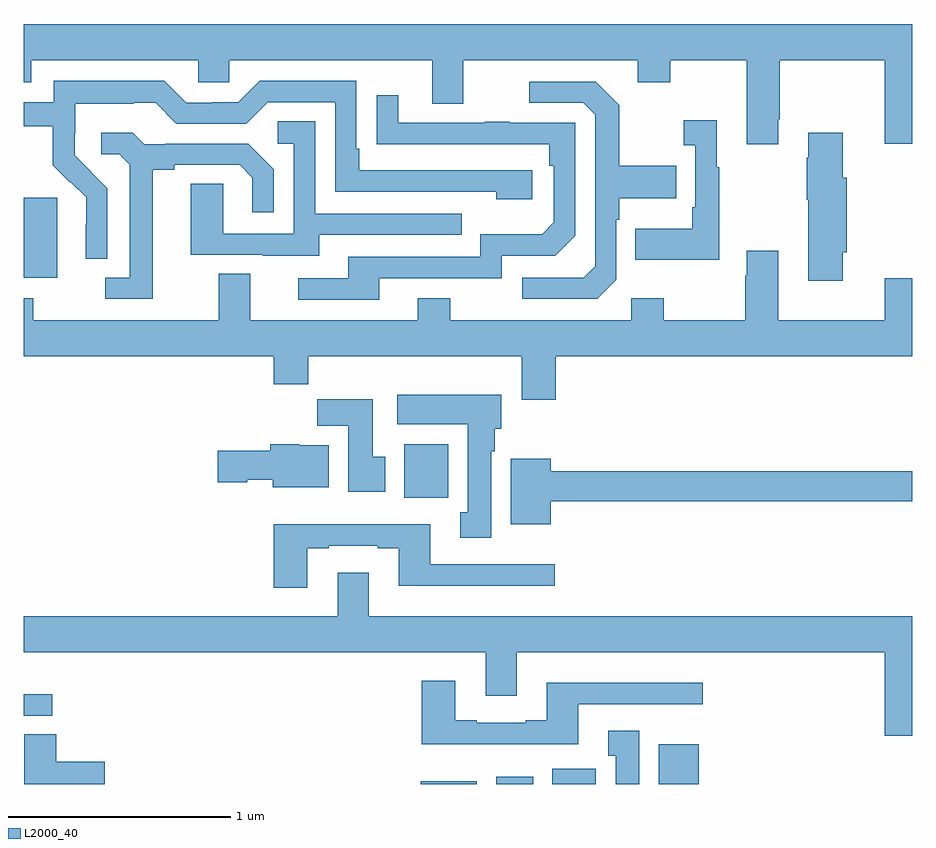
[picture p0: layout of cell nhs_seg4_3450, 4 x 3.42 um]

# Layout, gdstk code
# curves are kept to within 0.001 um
import gdstk
lib = gdstk.Library(unit=1e-6, precision=1e-09)
def R(c, l, rs):  # rectangles x0, y0, x1, y1
    for r in rs: c.add(gdstk.rectangle(r[:2], r[2:], *l))
def P(c, l, *ps):  # polygons
    for p in ps: c.add(gdstk.Polygon(p, *l))
L2000_40 = (2000, 40)

nhs_seg4_3450 = lib.new_cell('nhs_seg4_3450')
R(nhs_seg4_3450, L2000_40, [(294.788,790.9,295.039,790.912), (295.127,790.9,295.294,790.933), (295.379,790.9,295.575,790.969), (295.859,790.9,296.038,791.08), (293,791.208,293.128,791.304), (294.713,792.188,294.91,792.43), (293,793.178,293.152,793.539)])
P(nhs_seg4_3450, L2000_40, [(293,794.057),(293.035,794.057),(293.035,794.156),(293.787,794.156),(293.787,794.058),(293.925,794.058),(293.925,794.156),(294.839,794.156),(294.839,793.962),(294.979,793.962),(294.979,794.156),(295.763,794.156),(295.763,794.057),(295.911,794.057),(295.911,794.156),(296.255,794.156),(296.255,793.779),(296.395,793.779),(296.395,793.891),(296.403,793.891),(296.403,794.156),(296.876,794.156),(296.876,793.782),(297,793.782),(297,794.32),(293,794.32)],
  [(293.376,793.582),(293.23,793.73),(293.23,793.827),(293.232,793.827),(293.232,793.961),(293.495,793.961),(293.495,793.965),(293.595,793.965),(293.688,793.872),(294.003,793.872),(294.099,793.968),(294.402,793.968),(294.402,793.566),(295.127,793.566),(295.127,793.532),(295.288,793.532),(295.288,793.662),(294.511,793.662),(294.511,793.759),(294.498,793.759),(294.498,794.064),(294.063,794.064),(293.967,793.968),(293.849,793.968),(293.849,793.965),(293.733,793.965),(293.633,794.065),(293.136,794.065),(293.136,793.968),(293,793.968),(293,793.86),(293.131,793.86),(293.131,793.685),(293.208,793.608),(293.211,793.611),(293.282,793.541),(293.282,793.418),(293.28,793.418),(293.28,793.264),(293.376,793.264)],
  [(295.668,793.17),(295.668,793.439),(295.681,793.439),(295.681,793.535),(295.937,793.535),(295.937,793.683),(295.681,793.683),(295.681,793.955),(295.575,794.061),(295.275,794.061),(295.275,793.965),(295.518,793.965),(295.572,793.911),(295.572,793.23),(295.521,793.179),(295.245,793.179),(295.245,793.083),(295.581,793.083)],
  [(294.601,793.176),(295.152,793.176),(295.152,793.278),(295.392,793.278),(295.482,793.368),(295.482,793.875),(295.187,793.875),(295.187,793.88),(295.075,793.88),(295.075,793.875),(294.685,793.875),(294.685,793.999),(294.589,793.999),(294.589,793.78),(295.366,793.779),(295.366,793.682),(295.386,793.682),(295.386,793.428),(295.333,793.375),(295.056,793.375),(295.056,793.272),(294.461,793.272),(294.461,793.176),(294.237,793.176),(294.237,793.08),(294.601,793.08)],
  [(296.131,793.675),(296.119,793.675),(296.119,793.888),(295.971,793.888),(295.971,793.775),(296.022,793.775),(296.022,793.495),(296.01,793.495),(296.01,793.399),(295.753,793.399),(295.753,793.259),(296.131,793.259)],
  [(294.331,793.371),(294.971,793.371),(294.971,793.467),(294.312,793.467),(294.312,793.883),(294.144,793.883),(294.144,793.782),(294.216,793.782),(294.216,793.377),(293.898,793.377),(293.898,793.601),(293.753,793.601),(293.753,793.281),(294.077,793.281),(294.077,793.277),(294.331,793.277)],
  [(293.581,793.664),(293.677,793.664),(293.677,793.686),(293.972,793.686),(294.029,793.629),(294.029,793.473),(294.126,793.473),(294.126,793.666),(294.01,793.782),(293.638,793.782),(293.638,793.779),(293.544,793.779),(293.492,793.831),(293.349,793.831),(293.349,793.734),(293.43,793.734),(293.477,793.687),(293.477,793.179),(293.367,793.179),(293.367,793.083),(293.581,793.083)],
  [(296.686,793.293),(296.704,793.293),(296.704,793.629),(296.686,793.629),(296.686,793.831),(296.531,793.831),(296.531,793.718),(296.524,793.718),(296.524,793.529),(296.531,793.529),(296.531,793.164),(296.686,793.164)],
  [(295.394,792.824),(297,792.824),(297,793.177),(296.876,793.177),(296.876,792.988),(296.395,792.988),(296.395,793.3),(296.255,793.3),(296.255,793.187),(296.248,793.187),(296.248,792.988),(295.881,792.988),(295.881,793.087),(295.734,793.087),(295.734,792.988),(294.921,792.988),(294.921,793.087),(294.773,793.087),(294.773,792.988),(294.019,792.988),(294.019,793.196),(293.879,793.196),(293.879,792.988),(293.043,792.988),(293.043,793.087),(293,793.087),(293,792.824),(294.125,792.824),(294.125,792.7),(294.281,792.7),(294.281,792.824),(295.241,792.824),(295.241,792.63),(295.394,792.63)],
  [(295.105,792.398),(295.12,792.398),(295.12,792.498),(295.15,792.498),(295.15,792.652),(294.681,792.652),(294.681,792.518),(294.998,792.518),(294.998,792.122),(294.965,792.122),(294.965,792.009),(295.105,792.009)],
  [(294.628,792.372),(294.571,792.372),(294.571,792.631),(294.322,792.631),(294.322,792.512),(294.461,792.512),(294.461,792.216),(294.628,792.216)],
  [(294.373,792.424),(294.24,792.424),(294.24,792.43),(294.11,792.43),(294.11,792.399),(293.874,792.399),(293.874,792.257),(294.006,792.257),(294.006,792.269),(294.122,792.269),(294.122,792.236),(294.373,792.236)],
  [(295.372,792.172),(297,792.172),(297,792.308),(295.372,792.308),(295.372,792.364),(295.193,792.364),(295.193,792.068),(295.372,792.068)],
  [(294.277,791.961),(294.373,791.961),(294.373,791.973),(294.593,791.973),(294.593,791.961),(294.689,791.961),(294.689,791.792),(295.39,791.792),(295.39,791.889),(294.829,791.889),(294.829,792.07),(294.125,792.07),(294.125,791.784),(294.277,791.784)],
  [(297,791.656),(294.553,791.656),(294.553,791.851),(294.413,791.851),(294.413,791.656),(293,791.656),(293,791.492),(295.079,791.492),(295.079,791.298),(295.219,791.298),(295.219,791.492),(296.876,791.492),(296.876,791.118),(297,791.118)],
  [(295.495,791.259),(296.056,791.259),(296.056,791.356),(295.355,791.356),(295.355,791.188),(295.259,791.188),(295.259,791.175),(295.039,791.175),(295.039,791.188),(294.943,791.188),(294.943,791.365),(294.791,791.365),(294.791,791.078),(295.495,791.078)],
  [(295.771,791.14),(295.631,791.14),(295.631,791.027),(295.664,791.027),(295.664,790.9),(295.771,790.9)],
  [(293.365,791),(293.147,791),(293.147,791.123),(293.003,791.123),(293.003,790.9),(293.365,790.9)])

lib.write_gds('nhs_seg4_3450.gds')
